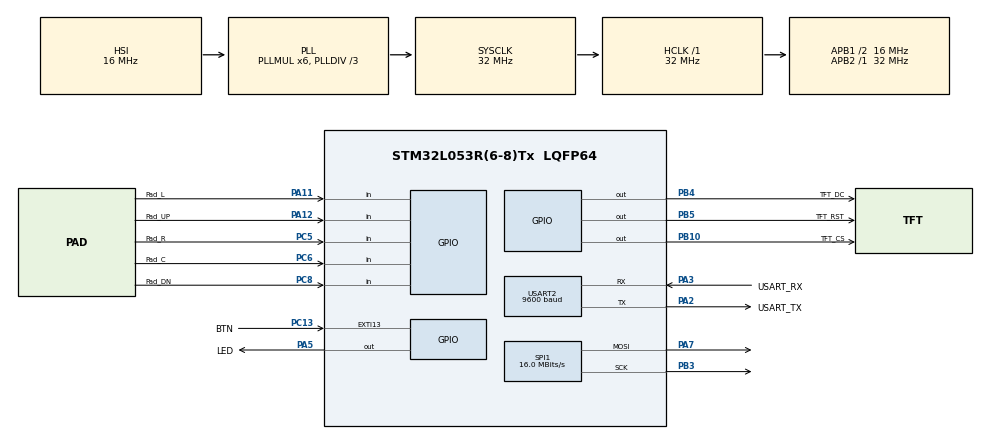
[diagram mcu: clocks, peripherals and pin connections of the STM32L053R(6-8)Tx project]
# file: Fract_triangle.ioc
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Mcu.Family=STM32L0
Mcu.Name=STM32L053R(6-8)Tx
Mcu.Package=LQFP64
NVIC.USART2_IRQn=true\:0\:0\:false\:false\:true\:true\:true
PA11.GPIO_Label=Pad_L
PA11.Signal=GPIO_Input
PA12.GPIO_Label=Pad_UP
PA12.Signal=GPIO_Input
PA13.GPIO_Label=TMS
PA13.Mode=Serial_Wire
PA13.Signal=SYS_SWDIO
PA14.GPIO_Label=TCK
PA14.Mode=Serial_Wire
PA14.Signal=SYS_SWCLK
PA2.GPIO_Label=USART_TX
PA2.Mode=Asynchronous
PA2.Signal=USART2_TX
PA3.GPIO_Label=USART_RX
PA3.Mode=Asynchronous
PA3.Signal=USART2_RX
PA5.GPIO_Label=LED
PA5.Signal=GPIO_Output
PA7.Mode=TX_Only_Simplex_Unidirect_Master
PA7.Signal=SPI1_MOSI
PB10.GPIO_Label=TFT_CS
PB10.GPIO_Speed=GPIO_SPEED_FREQ_VERY_HIGH
PB10.Signal=GPIO_Output
PB3.Mode=TX_Only_Simplex_Unidirect_Master
PB3.Signal=SPI1_SCK
PB4.GPIO_Label=TFT_DC
PB4.GPIO_Speed=GPIO_SPEED_FREQ_VERY_HIGH
PB4.Signal=GPIO_Output
PB5.GPIO_Label=TFT_RST
PB5.GPIO_Speed=GPIO_SPEED_FREQ_VERY_HIGH
PB5.Signal=GPIO_Output
PC13.GPIO_Label=BTN
PC13.GPIO_ModeDefaultEXTI=GPIO_MODE_IT_FALLING
PC13.Signal=GPXTI13
PC14-OSC32_IN.Mode=LSE-External-Oscillator
PC14-OSC32_IN.Signal=RCC_OSC32_IN
PC15-OSC32_OUT.Mode=LSE-External-Oscillator
PC15-OSC32_OUT.Signal=RCC_OSC32_OUT
PC5.GPIO_Label=Pad_R
PC5.Signal=GPIO_Input
PC6.GPIO_Label=Pad_C
PC6.Signal=GPIO_Input
PC8.GPIO_Label=Pad_DN
PC8.Signal=GPIO_Input
PH0-OSC_IN.Mode=HSE-External-Clock-Source
PH0-OSC_IN.Signal=RCC_OSC_IN
PH1-OSC_OUT.Signal=RCC_OSC_OUT
ProjectManager.HeapSize=0x200
ProjectManager.StackSize=0x400
ProjectManager.TargetToolchain=TrueSTUDIO
RCC.AHBFreq_Value=32000000
RCC.APB1CLKDivider=RCC_HCLK_DIV2
RCC.APB1Freq_Value=16000000
RCC.APB1TimFreq_Value=32000000
RCC.APB2Freq_Value=32000000
RCC.APB2TimFreq_Value=32000000
RCC.HCLKFreq_Value=32000000
RCC.HSE_VALUE=8000000
RCC.HSI16_VALUE=16000000
RCC.HSI48_VALUE=48000000
RCC.HSI_VALUE=16000000
RCC.MSIClockRange=RCC_MSIRANGE_6
RCC.MSI_VALUE=4194000
RCC.PLLDIV=RCC_PLLDIV_3
RCC.PLLMUL=RCC_PLLMUL_6
RCC.SYSCLKFreq_VALUE=32000000
RCC.SYSCLKSource=RCC_SYSCLKSOURCE_PLLCLK
RCC.VCOOutputFreq_Value=96000000
SPI1.BaudRatePrescaler=SPI_BAUDRATEPRESCALER_2
SPI1.CalculateBaudRate=16.0 MBits/s
SPI1.Direction=SPI_DIRECTION_2LINES
SPI1.Mode=SPI_MODE_MASTER
SPI1.VirtualType=VM_MASTER
USART2.BaudRate=9600
USART2.VirtualMode-Asynchronous=VM_ASYNC
VP_RNG_VS_RNG.Mode=RNG_Activate
board=NUCLEO-L053R8

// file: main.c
/* USER CODE BEGIN Header */
/**
  ******************************************************************************
  * @file           : main.c
  * @brief          : Main program body
  ******************************************************************************
  * @attention
  *
  * <h2><center>&copy; Copyright (c) 2019 STMicroelectronics.
  * All rights reserved.</center></h2>
  *
  * This software component is licensed by ST under BSD 3-Clause license,
  * the "License"; You may not use this file except in compliance with the
  * License. You may obtain a copy of the License at:
  *                        opensource.org/licenses/BSD-3-Clause
  *
  ******************************************************************************
  */
/* USER CODE END Header */

#include "main.h"

/* USER CODE BEGIN Includes */
#include <stdio.h>
#include <string.h>
#include "../ILI9341/ILI9341_STM32_Driver.h"
#include "../ILI9341/ILI9341_GFX.h"
#include "../ILI9341/5x5_font.h"

/* USER CODE END Includes */

/* USER CODE BEGIN PD */
#define dot_rad 1

#define dot_A_x 150
#define dot_A_y 310
#define dot_B_x 5
#define dot_B_y 40
#define dot_C_x 235
#define dot_C_y 5

/* USER CODE END PD */

RNG_HandleTypeDef hrng;

SPI_HandleTypeDef hspi1;

UART_HandleTypeDef huart2;

/* USER CODE BEGIN PV */
uint32_t rnd_num = 0;
uint16_t x_pos = 90;
uint16_t y_pos = 120;
uint16_t x_pos_old;
uint16_t y_pos_old;

/* USER CODE END PV */

void SystemClock_Config(void);
static void MX_GPIO_Init(void);
static void MX_USART2_UART_Init(void);
static void MX_SPI1_Init(void);
static void MX_RNG_Init(void);

/* USER CODE BEGIN 0 */
uint8_t drop_dice() {
	rnd_num = HAL_RNG_GetRandomNumber(&hrng);
	 while((rnd_num & 0x0F) > 11) {
		 rnd_num >>= 4;
		 if(rnd_num == 0) rnd_num = HAL_RNG_GetRandomNumber(&hrng);
	 }
return rnd_num & 0x0F;
}

void to_A() {
	x_pos_old = x_pos;
	y_pos_old = y_pos;
	x_pos = (dot_A_x + x_pos) / 2;
	y_pos = (dot_A_y + y_pos) / 2;
}

void to_B() {
	x_pos_old = x_pos;
	y_pos_old = y_pos;
	x_pos = (dot_B_x + x_pos) / 2;
	y_pos = (dot_B_y + y_pos) / 2;
}

void to_C() {
	x_pos_old = x_pos;
	y_pos_old = y_pos;
	x_pos = (dot_C_x + x_pos) / 2;
	y_pos = (dot_C_y + y_pos) / 2;
}

void pre_draw() {
	switch(drop_dice()) {
		case 0: ;
		case 1: ;
		case 2: ;
		case 3: ILI9341_Draw_Line(x_pos, y_pos, dot_A_x, dot_A_y, RED);
				to_A();
				HAL_Delay(600);
				ILI9341_Draw_Filled_Circle(x_pos, y_pos, dot_rad, BLUE);
				HAL_Delay(600);
				ILI9341_Draw_Line(x_pos_old, y_pos_old, dot_A_x, dot_A_y, WHITE);
				break;
		case 4: ;
		case 5: ;
		case 6: ;
		case 7: ILI9341_Draw_Line(x_pos, y_pos, dot_B_x, dot_B_y, RED);
				to_B();
				HAL_Delay(600);
				ILI9341_Draw_Filled_Circle(x_pos, y_pos, dot_rad, BLUE);
				HAL_Delay(600);
				ILI9341_Draw_Line(x_pos_old, y_pos_old, dot_B_x, dot_B_y, WHITE);
				break;
		case 8: ;
		case 9: ;
		case 10: ;
		case 11: ILI9341_Draw_Line(x_pos, y_pos, dot_C_x, dot_C_y, RED);
				 to_C();
				 HAL_Delay(600);
				 ILI9341_Draw_Filled_Circle(x_pos, y_pos, dot_rad, BLUE);
				 HAL_Delay(600);
				 ILI9341_Draw_Line(x_pos_old, y_pos_old, dot_C_x, dot_C_y, WHITE);
				 break;
		  }
	ILI9341_Draw_Filled_Circle(x_pos, y_pos, dot_rad, BLUE);
}

/* USER CODE END 0 */

int main(void)
{

  /* MCU Configuration--------------------------------------------------------*/

  /* Reset of all peripherals, Initializes the Flash interface and the Systick. */
  HAL_Init();

  /* Configure the system clock */
  SystemClock_Config();

  /* Initialize all configured peripherals */
  MX_GPIO_Init();
  MX_USART2_UART_Init();
  MX_SPI1_Init();
  MX_RNG_Init();
  /* USER CODE BEGIN 2 */
  ILI9341_Init();
  ILI9341_Set_Rotation(SCREEN_VERTICAL_1);
  ILI9341_Fill_Screen(WHITE);

  ILI9341_Draw_Filled_Circle(dot_A_x, dot_A_y, 3, BLACK);
  ILI9341_Draw_Filled_Circle(dot_B_x, dot_B_y, 3, BLACK);
  ILI9341_Draw_Filled_Circle(dot_C_x, dot_C_y, 3, BLACK);

  for(uint8_t i=0; i<18; i++) {
  pre_draw();
  }

  /* USER CODE END 2 */

  /* Infinite loop */
  /* USER CODE BEGIN WHILE */
  while (1)
  {
	  switch(drop_dice()) {
	  	  case 0: ;
	  	  case 1: ;
	  	  case 2: ;
	  	  case 3: to_A(); break;
	  	  case 4: ;
	  	  case 5: ;
	  	  case 6: ;
	  	  case 7: to_B(); break;
	  	  case 8: ;
	  	  case 9: ;
	  	  case 10: ;
	  	  case 11: to_C(); break;
	  }
	  ILI9341_Draw_Pixel(x_pos, y_pos, BLUE);
	  //ILI9341_Draw_Filled_Circle(x_pos, y_pos, dot_rad, BLUE);
	  HAL_Delay(3);

    /* USER CODE END WHILE */

  }
}

void SystemClock_Config(void)
{
  RCC_OscInitTypeDef RCC_OscInitStruct = {0};
  RCC_ClkInitTypeDef RCC_ClkInitStruct = {0};
  RCC_PeriphCLKInitTypeDef PeriphClkInit = {0};

  /** Configure the main internal regulator output voltage
  */
  __HAL_PWR_VOLTAGESCALING_CONFIG(PWR_REGULATOR_VOLTAGE_SCALE1);
  /** Initializes the CPU, AHB and APB busses clocks
  */
  RCC_OscInitStruct.OscillatorType = RCC_OSCILLATORTYPE_HSI;
  RCC_OscInitStruct.HSIState = RCC_HSI_ON;
  RCC_OscInitStruct.HSICalibrationValue = RCC_HSICALIBRATION_DEFAULT;
  RCC_OscInitStruct.PLL.PLLState = RCC_PLL_ON;
  RCC_OscInitStruct.PLL.PLLSource = RCC_PLLSOURCE_HSI;
  RCC_OscInitStruct.PLL.PLLMUL = RCC_PLLMUL_6;
  RCC_OscInitStruct.PLL.PLLDIV = RCC_PLLDIV_3;
  if (HAL_RCC_OscConfig(&RCC_OscInitStruct) != HAL_OK)
  {
    Error_Handler();
  }
  /** Initializes the CPU, AHB and APB busses clocks
  */
  RCC_ClkInitStruct.ClockType = RCC_CLOCKTYPE_HCLK|RCC_CLOCKTYPE_SYSCLK
                              |RCC_CLOCKTYPE_PCLK1|RCC_CLOCKTYPE_PCLK2;
  RCC_ClkInitStruct.SYSCLKSource = RCC_SYSCLKSOURCE_PLLCLK;
  RCC_ClkInitStruct.AHBCLKDivider = RCC_SYSCLK_DIV1;
  RCC_ClkInitStruct.APB1CLKDivider = RCC_HCLK_DIV2;
  RCC_ClkInitStruct.APB2CLKDivider = RCC_HCLK_DIV1;

  if (HAL_RCC_ClockConfig(&RCC_ClkInitStruct, FLASH_LATENCY_1) != HAL_OK)
  {
    Error_Handler();
  }
  PeriphClkInit.PeriphClockSelection = RCC_PERIPHCLK_USART2|RCC_PERIPHCLK_USB;
  PeriphClkInit.Usart2ClockSelection = RCC_USART2CLKSOURCE_PCLK1;
  PeriphClkInit.UsbClockSelection = RCC_USBCLKSOURCE_PLL;
  if (HAL_RCCEx_PeriphCLKConfig(&PeriphClkInit) != HAL_OK)
  {
    Error_Handler();
  }
}

static void MX_RNG_Init(void)
{

  hrng.Instance = RNG;
  if (HAL_RNG_Init(&hrng) != HAL_OK)
  {
    Error_Handler();
  }

}

static void MX_SPI1_Init(void)
{

  /* SPI1 parameter configuration*/
  hspi1.Instance = SPI1;
  hspi1.Init.Mode = SPI_MODE_MASTER;
  hspi1.Init.Direction = SPI_DIRECTION_2LINES;
  hspi1.Init.DataSize = SPI_DATASIZE_8BIT;
  hspi1.Init.CLKPolarity = SPI_POLARITY_LOW;
  hspi1.Init.CLKPhase = SPI_PHASE_1EDGE;
  hspi1.Init.NSS = SPI_NSS_SOFT;
  hspi1.Init.BaudRatePrescaler = SPI_BAUDRATEPRESCALER_2;
  hspi1.Init.FirstBit = SPI_FIRSTBIT_MSB;
  hspi1.Init.TIMode = SPI_TIMODE_DISABLE;
  hspi1.Init.CRCCalculation = SPI_CRCCALCULATION_DISABLE;
  hspi1.Init.CRCPolynomial = 7;
  if (HAL_SPI_Init(&hspi1) != HAL_OK)
  {
    Error_Handler();
  }

}

static void MX_USART2_UART_Init(void)
{

  huart2.Instance = USART2;
  huart2.Init.BaudRate = 9600;
  huart2.Init.WordLength = UART_WORDLENGTH_8B;
  huart2.Init.StopBits = UART_STOPBITS_1;
  huart2.Init.Parity = UART_PARITY_NONE;
  huart2.Init.Mode = UART_MODE_TX_RX;
  huart2.Init.HwFlowCtl = UART_HWCONTROL_NONE;
  huart2.Init.OverSampling = UART_OVERSAMPLING_16;
  huart2.Init.OneBitSampling = UART_ONE_BIT_SAMPLE_DISABLE;
  huart2.AdvancedInit.AdvFeatureInit = UART_ADVFEATURE_NO_INIT;
  if (HAL_UART_Init(&huart2) != HAL_OK)
  {
    Error_Handler();
  }

}

static void MX_GPIO_Init(void)
{
  GPIO_InitTypeDef GPIO_InitStruct = {0};

  /* GPIO Ports Clock Enable */
  __HAL_RCC_GPIOC_CLK_ENABLE();
  __HAL_RCC_GPIOH_CLK_ENABLE();
  __HAL_RCC_GPIOA_CLK_ENABLE();
  __HAL_RCC_GPIOB_CLK_ENABLE();

  /*Configure GPIO pin Output Level */
  HAL_GPIO_WritePin(LED_GPIO_Port, LED_Pin, GPIO_PIN_RESET);

  /*Configure GPIO pin Output Level */
  HAL_GPIO_WritePin(GPIOB, TFT_CS_Pin|TFT_DC_Pin|TFT_RST_Pin, GPIO_PIN_RESET);

  /*Configure GPIO pin : BTN_Pin */
  GPIO_InitStruct.Pin = BTN_Pin;
  GPIO_InitStruct.Mode = GPIO_MODE_IT_FALLING;
  GPIO_InitStruct.Pull = GPIO_NOPULL;
  HAL_GPIO_Init(BTN_GPIO_Port, &GPIO_InitStruct);

  /*Configure GPIO pin : LED_Pin */
  GPIO_InitStruct.Pin = LED_Pin;
  GPIO_InitStruct.Mode = GPIO_MODE_OUTPUT_PP;
  GPIO_InitStruct.Pull = GPIO_NOPULL;
  GPIO_InitStruct.Speed = GPIO_SPEED_FREQ_LOW;
  HAL_GPIO_Init(LED_GPIO_Port, &GPIO_InitStruct);

  /*Configure GPIO pins : Pad_R_Pin Pad_C_Pin Pad_DN_Pin */
  GPIO_InitStruct.Pin = Pad_R_Pin|Pad_C_Pin|Pad_DN_Pin;
  GPIO_InitStruct.Mode = GPIO_MODE_INPUT;
  GPIO_InitStruct.Pull = GPIO_NOPULL;
  HAL_GPIO_Init(GPIOC, &GPIO_InitStruct);

  /*Configure GPIO pins : TFT_CS_Pin TFT_DC_Pin TFT_RST_Pin */
  GPIO_InitStruct.Pin = TFT_CS_Pin|TFT_DC_Pin|TFT_RST_Pin;
  GPIO_InitStruct.Mode = GPIO_MODE_OUTPUT_PP;
  GPIO_InitStruct.Pull = GPIO_NOPULL;
  GPIO_InitStruct.Speed = GPIO_SPEED_FREQ_VERY_HIGH;
  HAL_GPIO_Init(GPIOB, &GPIO_InitStruct);

  /*Configure GPIO pins : Pad_L_Pin Pad_UP_Pin */
  GPIO_InitStruct.Pin = Pad_L_Pin|Pad_UP_Pin;
  GPIO_InitStruct.Mode = GPIO_MODE_INPUT;
  GPIO_InitStruct.Pull = GPIO_NOPULL;
  HAL_GPIO_Init(GPIOA, &GPIO_InitStruct);

}

void Error_Handler(void)
{
}

/************************ (C) COPYRIGHT STMicroelectronics *****END OF FILE****/
